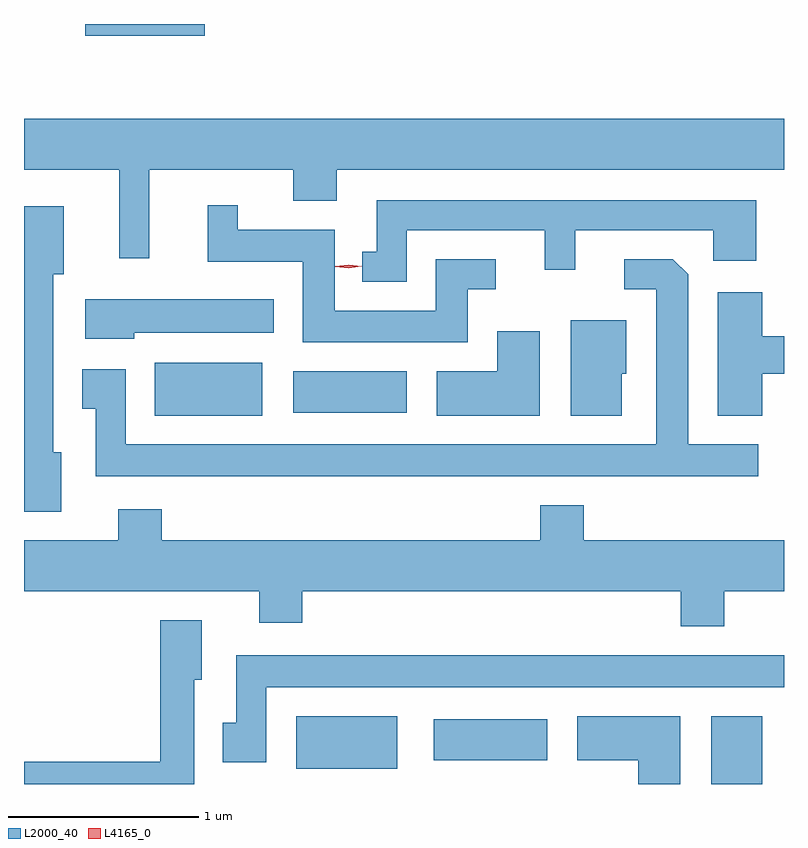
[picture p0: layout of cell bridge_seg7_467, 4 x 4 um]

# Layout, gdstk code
import gdstk
lib = gdstk.Library(unit=1e-6, precision=1e-09)
def R(c, l, rs):  # rectangles x0, y0, x1, y1
    for r in rs: c.add(gdstk.rectangle(r[:2], r[2:], *l))
def P(c, l, *ps):  # polygons
    for p in ps: c.add(gdstk.Polygon(p, *l))
L2000_40 = (2000, 40)
L4165_0 = (4165, 0)

bridge_seg7_467 = lib.new_cell('bridge_seg7_467')
R(bridge_seg7_467, L2000_40, [(1449.181,1711.082,1449.449,1711.439), (1446.996,1711.161,1447.529,1711.439), (1447.721,1711.206,1448.319,1711.424), (1446.251,1713.021,1446.819,1713.299), (1446.981,1713.036,1447.579,1713.254), (1445.886,1715.021,1446.514,1715.082)])
P(bridge_seg7_467, L2000_40, [(1446.224,1714.316),(1446.981,1714.316),(1446.981,1714.151),(1447.209,1714.151),(1447.209,1714.316),(1449.564,1714.316),(1449.564,1714.584),(1445.564,1714.584),(1445.564,1714.316),(1446.066,1714.316),(1446.066,1713.848),(1446.224,1713.848)],
  [(1447.579,1713.996),(1448.306,1713.996),(1448.306,1713.788),(1448.464,1713.788),(1448.464,1713.996),(1449.191,1713.996),(1449.191,1713.836),(1449.419,1713.836),(1449.419,1714.154),(1447.421,1714.154),(1447.421,1713.884),(1447.343,1713.884),(1447.343,1713.726),(1447.579,1713.726)],
  [(1447.899,1713.686),(1448.048,1713.686),(1448.048,1713.844),(1447.731,1713.844),(1447.731,1713.574),(1447.199,1713.574),(1447.199,1713.999),(1446.689,1713.999),(1446.689,1714.128),(1446.531,1714.128),(1446.531,1713.831),(1447.031,1713.831),(1447.031,1713.406),(1447.899,1713.406)],
  [(1445.759,1712.829),(1445.719,1712.829),(1445.719,1713.766),(1445.774,1713.766),(1445.774,1714.124),(1445.564,1714.124),(1445.564,1712.516),(1445.759,1712.516)],
  [(1449.428,1712.869),(1449.059,1712.869),(1449.059,1713.764),(1448.979,1713.844),(1448.723,1713.844),(1448.723,1713.686),(1448.891,1713.686),(1448.891,1712.869),(1446.099,1712.869),(1446.099,1713.264),(1445.871,1713.264),(1445.871,1713.056),(1445.941,1713.056),(1445.941,1712.701),(1449.428,1712.701)],
  [(1449.449,1713.241),(1449.564,1713.241),(1449.564,1713.439),(1449.449,1713.439),(1449.449,1713.669),(1449.216,1713.669),(1449.216,1713.021),(1449.449,1713.021)],
  [(1446.144,1713.456),(1446.879,1713.456),(1446.879,1713.634),(1445.886,1713.634),(1445.886,1713.426),(1446.144,1713.426)],
  [(1448.709,1713.241),(1448.734,1713.241),(1448.734,1713.524),(1448.441,1713.524),(1448.441,1713.021),(1448.709,1713.021)],
  [(1448.279,1713.464),(1448.056,1713.464),(1448.056,1713.254),(1447.736,1713.254),(1447.736,1713.021),(1448.279,1713.021)],
  [(1449.249,1712.096),(1449.564,1712.096),(1449.564,1712.364),(1448.509,1712.364),(1448.509,1712.549),(1448.281,1712.549),(1448.281,1712.364),(1446.289,1712.364),(1446.289,1712.529),(1446.061,1712.529),(1446.061,1712.364),(1445.564,1712.364),(1445.564,1712.096),(1446.801,1712.096),(1446.801,1711.931),(1447.029,1711.931),(1447.029,1712.096),(1449.021,1712.096),(1449.021,1711.911),(1449.249,1711.911)],
  [(1446.459,1711.631),(1446.499,1711.631),(1446.499,1711.944),(1446.281,1711.944),(1446.281,1711.199),(1445.564,1711.199),(1445.564,1711.082),(1446.459,1711.082)],
  [(1446.839,1711.591),(1449.564,1711.591),(1449.564,1711.759),(1446.681,1711.759),(1446.681,1711.404),(1446.611,1711.404),(1446.611,1711.196),(1446.839,1711.196)],
  [(1449.019,1711.439),(1448.476,1711.439),(1448.476,1711.206),(1448.796,1711.206),(1448.796,1711.082),(1449.019,1711.082)])
P(bridge_seg7_467, L4165_0, [(1447.272,1713.796),(1447.202,1713.805),(1447.202,1713.806),(1447.202,1713.806),(1447.272,1713.816),(1447.341,1713.807),(1447.341,1713.807),(1447.341,1713.806)])

lib.write_gds('bridge_seg7_467.gds')
